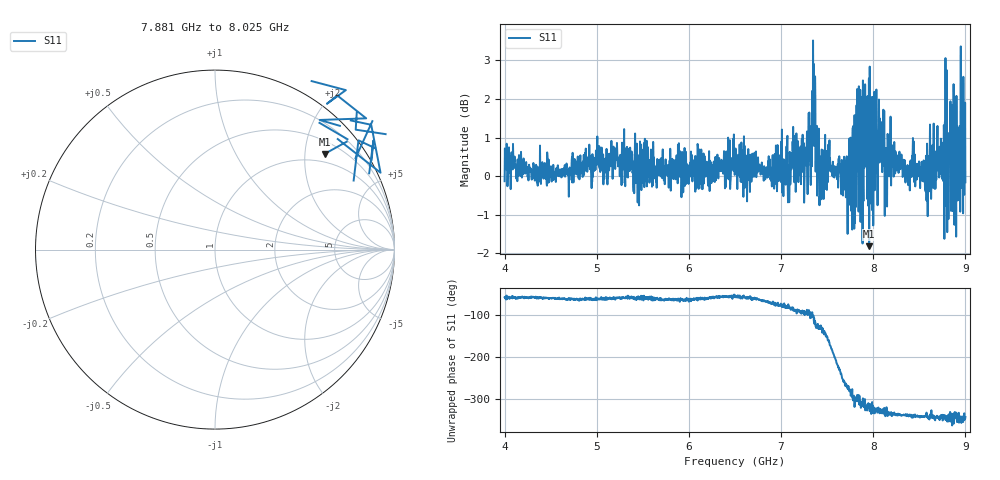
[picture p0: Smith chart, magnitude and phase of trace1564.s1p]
! Created with skrf 1.8.0 (http://scikit-rf.org).
# Hz S RI R 50.0
!freq ReS11 ImS11
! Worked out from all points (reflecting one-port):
!   1601 points, 4 GHz to 9 GHz, reference 50 ohm
!   lowest |S11| = -1.8 dB at 7.956 GHz (marker M1), VSWR 9.60, Z = 39.2 + j122 ohm
!   phase of S11 starts at -58 deg and turns -284 deg over the sweep
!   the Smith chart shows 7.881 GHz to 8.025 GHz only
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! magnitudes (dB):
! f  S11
! 4 GHz  -0.1
! 4.028 GHz  0.5
! 4.625 GHz  0.0
! 5.25 GHz  0.0
! 5.875 GHz  0.3
! 6.5 GHz  0.4
! 7.097 GHz  0.2
! 7.125 GHz  0.9
! 7.269 GHz  0.7
! 7.309 GHz  0.9
! 7.362 GHz  2.3
! 7.4 GHz  0.6
! 7.438 GHz  -0.6
! 7.525 GHz  0.9
! 7.697 GHz  0.0
! 7.75 GHz  0.1
! 7.919 GHz  0.3
! 7.956 GHz  -1.8
! 8.05 GHz  1.1
! 8.147 GHz  0.7
! 8.375 GHz  0.0
! 8.584 GHz  0.8
! 8.775 GHz  1.2
! 8.828 GHz  0.4
! 8.847 GHz  0.5
! 8.919 GHz  0.1
! 8.972 GHz  0.6
! 9 GHz  -0.2
